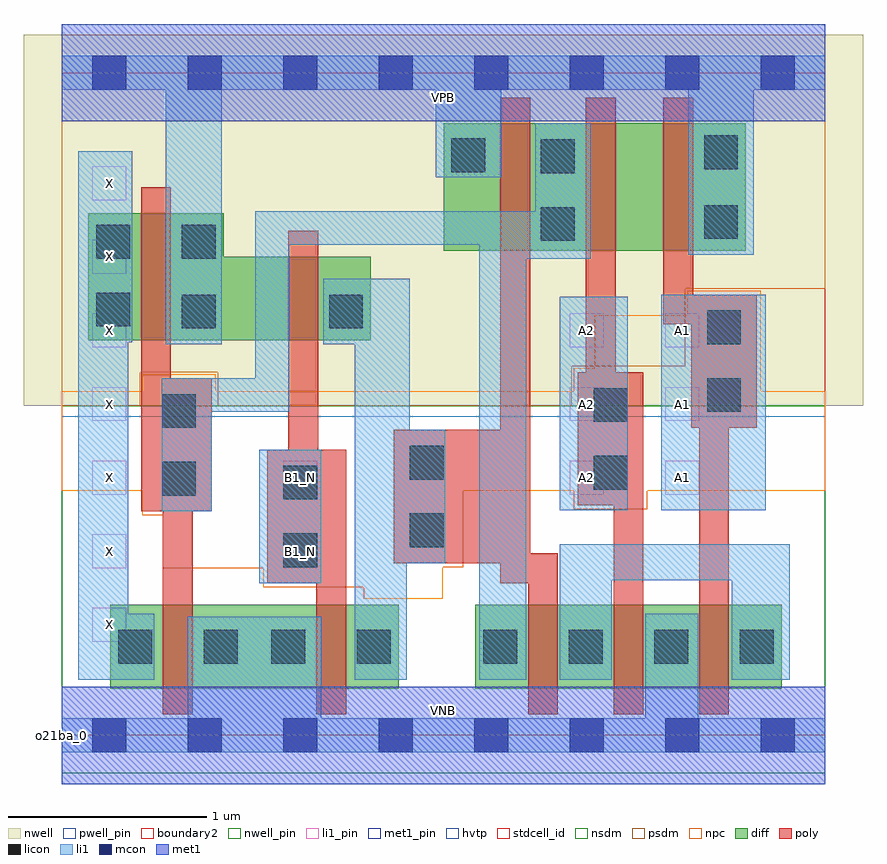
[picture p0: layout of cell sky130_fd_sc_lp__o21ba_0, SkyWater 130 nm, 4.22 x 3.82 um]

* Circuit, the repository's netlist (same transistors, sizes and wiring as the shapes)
* Copyright 2020 The SkyWater PDK Authors
*
* Licensed under the Apache License, Version 2.0 (the "License");
* you may not use this file except in compliance with the License.
* You may obtain a copy of the License at
*
*     https://www.apache.org/licenses/LICENSE-2.0
*
* Unless required by applicable law or agreed to in writing, software
* distributed under the License is distributed on an "AS IS" BASIS,
* WITHOUT WARRANTIES OR CONDITIONS OF ANY KIND, either express or implied.
* See the License for the specific language governing permissions and
* limitations under the License.
*
* SPDX-License-Identifier: Apache-2.0

.SUBCKT sky130_fd_sc_lp__o21ba_0 A1 A2 B1_N VGND VNB VPB VPWR X
*.PININFO A1:I A2:I B1_N:I VGND:I VNB:I VPB:I VPWR:I X:O
MMPA0 VPWR A1 sndA1 VPB sky130_fd_pr__pfet_01v8_hvt m=1 w=0.64U l=0.15U mult=1
+ sa=0.265 sb=0.265 sd=0.28 area=0.063 perim=1.14
MMPA1 sndA1 A2 y VPB sky130_fd_pr__pfet_01v8_hvt m=1 w=0.64U l=0.15U mult=1 sa=0.265
+ sb=0.265 sd=0.28 area=0.063 perim=1.14
MMPB0 VPWR B1 y VPB sky130_fd_pr__pfet_01v8_hvt m=1 w=0.64U l=0.15U mult=1 sa=0.265
+ sb=0.265 sd=0.28 area=0.063 perim=1.14
MMIPB1N B1 B1_N VPWR VPB sky130_fd_pr__pfet_01v8_hvt m=1 w=0.42U l=0.15U mult=1
+ sa=0.265 sb=0.265 sd=0.28 area=0.063 perim=1.14
MMIPX X y VPWR VPB sky130_fd_pr__pfet_01v8_hvt m=1 w=0.64U l=0.15U mult=1 sa=0.265
+ sb=0.265 sd=0.28 area=0.063 perim=1.14
MMNA0 pndA A1 VGND VNB sky130_fd_pr__nfet_01v8 m=1 w=0.42U l=0.15U mult=1 sa=0.265
+ sb=0.265 sd=0.28 area=0.063 perim=1.14
MMNA1 pndA A2 VGND VNB sky130_fd_pr__nfet_01v8 m=1 w=0.42U l=0.15U mult=1 sa=0.265
+ sb=0.265 sd=0.28 area=0.063 perim=1.14
MMNB0 y B1 pndA VNB sky130_fd_pr__nfet_01v8 m=1 w=0.42U l=0.15U mult=1 sa=0.265
+ sb=0.265 sd=0.28 area=0.063 perim=1.14
MMINB1N B1 B1_N VGND VNB sky130_fd_pr__nfet_01v8 m=1 w=0.42U l=0.15U mult=1 sa=0.265
+ sb=0.265 sd=0.28 area=0.063 perim=1.14
MMINX X y VGND VNB sky130_fd_pr__nfet_01v8 m=1 w=0.42U l=0.15U mult=1 sa=0.265
+ sb=0.265 sd=0.28 area=0.063 perim=1.14
.ENDS sky130_fd_sc_lp__o21ba_0

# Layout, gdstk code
import gdstk
lib = gdstk.Library(unit=1e-6, precision=1e-09)
def R(c, l, rs):  # rectangles x0, y0, x1, y1
    for r in rs: c.add(gdstk.rectangle(r[:2], r[2:], *l))
def A(c, l, x, y, w, h, nx, ny, dx, dy):  # array of equal rectangles
    R(c, l, [(x+i*dx, y+j*dy, x+i*dx+w, y+j*dy+h) for i in range(nx) for j in range(ny)])
def P(c, l, *ps):  # polygons
    for p in ps: c.add(gdstk.Polygon(p, *l))
nwell_pin = (64, 16)
nwell = (64, 20)
diff = (65, 20)
poly = (66, 20)
licon = (66, 44)
li1_pin = (67, 16)
li1 = (67, 20)
mcon = (67, 44)
met1_pin = (68, 16)
met1 = (68, 20)
hvtp = (78, 44)
stdcell_id = (81, 4)
nsdm = (93, 44)
psdm = (94, 20)
npc = (95, 20)
pwell_pin = (122, 16)
boundary2 = (236, 0)

sky130_fd_sc_lp__o21ba_0 = lib.new_cell('sky130_fd_sc_lp__o21ba_0')
R(sky130_fd_sc_lp__o21ba_0, nwell_pin, [(0,3.085,3.84,3.33)])
R(sky130_fd_sc_lp__o21ba_0, nwell, [(-0.19,1.655,4.03,3.52)])
R(sky130_fd_sc_lp__o21ba_0, diff, [(0.245,0.235,1.695,0.655), (2.08,0.235,3.62,0.655), (1.92,2.435,3.44,3.075)])
P(sky130_fd_sc_lp__o21ba_0, diff, [(1.555,2.405),(0.815,2.405),(0.815,2.625),(0.135,2.625),(0.135,1.985),(1.555,1.985)])
R(sky130_fd_sc_lp__o21ba_0, poly, [(0.51,0.105,0.66,1.125)])
P(sky130_fd_sc_lp__o21ba_0, poly, [(0.755,1.795),(0.55,1.795),(0.55,2.755),(0.4,2.755),(0.4,1.125),(0.755,1.125)],
  [(1.43,1.435),(1.29,1.435),(1.29,2.535),(1.14,2.535),(1.14,1.435),(1.035,1.435),(1.035,0.765),(1.28,0.765),(1.28,0.105),(1.43,0.105)],
  [(2.495,0.915),(2.355,0.915),(2.355,3.205),(2.205,3.205),(2.205,1.535),(1.67,1.535),(1.67,0.865),(2.205,0.865),(2.205,0.765),(2.345,0.765),(2.345,0.105),(2.495,0.105)],
  [(2.925,1.825),(2.785,1.825),(2.785,3.205),(2.635,3.205),(2.635,1.825),(2.595,1.825),(2.595,1.155),(2.775,1.155),(2.775,0.105),(2.925,0.105)],
  [(3.495,2.215),(3.175,2.215),(3.175,3.205),(3.025,3.205),(3.025,2.065),(3.165,2.065),(3.165,1.545),(3.205,1.545),(3.205,0.105),(3.355,0.105),(3.355,1.545),(3.495,1.545)])
A(sky130_fd_sc_lp__o21ba_0, licon, 2.12, 0.36, 0.17, 0.17, 4, 1, 0.43, 0)
R(sky130_fd_sc_lp__o21ba_0, licon, [(0.285,0.36,0.455,0.53), (0.715,0.36,0.885,0.53), (1.055,0.36,1.225,0.53), (1.485,0.36,1.655,0.53), (1.115,0.845,1.285,1.015), (1.75,0.945,1.92,1.115), (1.115,1.185,1.285,1.355), (0.505,1.205,0.675,1.375), (2.675,1.235,2.845,1.405), (1.75,1.285,1.92,1.455), (0.505,1.545,0.675,1.715), (2.675,1.575,2.845,1.745), (3.245,1.625,3.415,1.795), (3.245,1.965,3.415,2.135), (0.605,2.045,0.775,2.215), (1.345,2.045,1.515,2.215), (0.175,2.055,0.345,2.225), (0.175,2.395,0.345,2.565), (0.605,2.395,0.775,2.565), (2.41,2.485,2.58,2.655), (3.23,2.495,3.4,2.665), (2.41,2.825,2.58,2.995), (1.96,2.83,2.13,3), (3.23,2.845,3.4,3.015)])
A(sky130_fd_sc_lp__o21ba_0, li1_pin, 0.155, 0.47, 0.17, 0.17, 1, 7, 0, 0.37)
A(sky130_fd_sc_lp__o21ba_0, li1_pin, 2.555, 1.21, 0.17, 0.17, 1, 3, 0, 0.37)
A(sky130_fd_sc_lp__o21ba_0, li1_pin, 3.035, 1.21, 0.17, 0.17, 1, 3, 0, 0.37)
R(sky130_fd_sc_lp__o21ba_0, li1_pin, [(1.115,0.84,1.285,1.01), (1.115,1.21,1.285,1.38)])
R(sky130_fd_sc_lp__o21ba_0, li1, [(0.995,0.765,1.305,1.435), (2.505,1.13,2.845,2.205), (3.015,1.13,3.54,2.215)])
P(sky130_fd_sc_lp__o21ba_0, li1, [(0.525,1.965),(0.525,3.245),(0,3.245),(0,3.415),(3.84,3.415),(3.84,3.245),(3.48,3.245),(3.48,2.415),(3.15,2.415),(3.15,3.245),(2.21,3.245),(2.21,2.805),(1.88,2.805),(1.88,3.245),(0.805,3.245),(0.805,1.965)],
  [(2.935,0.085),(2.935,0.61),(3.2,0.61),(3.2,0.085),(3.84,0.085),(3.84,-0.085),(0,-0.085),(0,0.085),(0.635,0.085),(0.635,0.595),(1.305,0.595),(1.305,0.085)],
  [(3.37,0.28),(3.37,0.78),(2.765,0.78),(2.765,0.28),(2.505,0.28),(2.505,0.96),(3.66,0.96),(3.66,0.28)],
  [(2.38,2.635),(2.38,3.075),(2.66,3.075),(2.66,2.395),(2.335,2.395),(2.335,0.28),(2.1,0.28),(2.1,2.465),(1.145,2.465),(1.145,1.625),(0.755,1.625),(0.755,1.125),(0.505,1.125),(0.505,1.795),(0.975,1.795),(0.975,2.635)],
  [(1.75,1.535),(1.93,1.535),(1.93,0.865),(1.735,0.865),(1.735,0.28),(1.475,0.28),(1.475,1.965),(1.315,1.965),(1.315,2.295),(1.75,2.295)],
  [(0.085,2.935),(0.355,2.935),(0.355,1.975),(0.335,1.975),(0.335,0.61),(0.465,0.61),(0.465,0.28),(0.085,0.28)])
A(sky130_fd_sc_lp__o21ba_0, mcon, 0.155, -0.085, 0.17, 0.17, 8, 2, 0.48, 3.33)
R(sky130_fd_sc_lp__o21ba_0, met1_pin, [(0,0,3.84,0.245), (0,3.085,3.84,3.33)])
R(sky130_fd_sc_lp__o21ba_0, met1, [(0,-0.245,3.84,0.245), (0,3.085,3.84,3.575)])
R(sky130_fd_sc_lp__o21ba_0, hvtp, [(0,1.6,3.84,3.33)])
R(sky130_fd_sc_lp__o21ba_0, stdcell_id, [(0,0,3.84,3.33)])
R(sky130_fd_sc_lp__o21ba_0, nsdm, [(0,-0.19,3.84,1.655)])
P(sky130_fd_sc_lp__o21ba_0, psdm, [(3.84,3.52),(0,3.52),(0,1.655),(0.395,1.655),(0.395,1.825),(0.785,1.825),(0.785,1.655),(2.565,1.655),(2.565,1.855),(3.135,1.855),(3.135,2.245),(3.84,2.245)])
P(sky130_fd_sc_lp__o21ba_0, npc, [(3.84,1.73),(3.515,1.73),(3.515,2.235),(3.145,2.235),(3.145,2.11),(2.68,2.11),(2.68,1.845),(2.575,1.845),(2.575,1.73),(0.775,1.73),(0.775,1.815),(0.405,1.815),(0.405,1.73),(0,1.73),(0,1.23),(0.405,1.23),(0.405,1.105),(0.51,1.105),(0.51,0.84),(1.015,0.84),(1.015,0.745),(1.52,0.745),(1.52,0.685),(1.915,0.685),(1.915,0.845),(2.02,0.845),(2.02,1.23),(2.575,1.23),(2.575,1.135),(2.945,1.135),(2.945,1.23),(3.84,1.23)])
R(sky130_fd_sc_lp__o21ba_0, pwell_pin, [(0,0,3.84,0.245)])
R(sky130_fd_sc_lp__o21ba_0, boundary2, [(0,0,3.84,3.33)])
sky130_fd_sc_lp__o21ba_0.add(gdstk.Label('VNB', (1.92,0.123), layer=64, texttype=59))
sky130_fd_sc_lp__o21ba_0.add(gdstk.Label('VPB', (1.92,3.208), layer=64, texttype=5))
sky130_fd_sc_lp__o21ba_0.add(gdstk.Label('o21ba_0', (0,0), layer=83, texttype=44))
sky130_fd_sc_lp__o21ba_0.add(gdstk.Label('VPWR', (1.92,3.208), layer=68, texttype=5))
sky130_fd_sc_lp__o21ba_0.add(gdstk.Label('VGND', (1.92,0.123), layer=68, texttype=5))
sky130_fd_sc_lp__o21ba_0.add(gdstk.Label('A1', (3.12,1.295), layer=67, texttype=5))
sky130_fd_sc_lp__o21ba_0.add(gdstk.Label('A1', (3.12,1.665), layer=67, texttype=5))
sky130_fd_sc_lp__o21ba_0.add(gdstk.Label('A1', (3.12,2.035), layer=67, texttype=5))
sky130_fd_sc_lp__o21ba_0.add(gdstk.Label('A2', (2.64,1.295), layer=67, texttype=5))
sky130_fd_sc_lp__o21ba_0.add(gdstk.Label('A2', (2.64,1.665), layer=67, texttype=5))
sky130_fd_sc_lp__o21ba_0.add(gdstk.Label('A2', (2.64,2.035), layer=67, texttype=5))
sky130_fd_sc_lp__o21ba_0.add(gdstk.Label('B1_N', (1.2,0.925), layer=67, texttype=5))
sky130_fd_sc_lp__o21ba_0.add(gdstk.Label('B1_N', (1.2,1.295), layer=67, texttype=5))
sky130_fd_sc_lp__o21ba_0.add(gdstk.Label('X', (0.24,0.555), layer=67, texttype=5))
sky130_fd_sc_lp__o21ba_0.add(gdstk.Label('X', (0.24,0.925), layer=67, texttype=5))
sky130_fd_sc_lp__o21ba_0.add(gdstk.Label('X', (0.24,1.295), layer=67, texttype=5))
sky130_fd_sc_lp__o21ba_0.add(gdstk.Label('X', (0.24,1.665), layer=67, texttype=5))
sky130_fd_sc_lp__o21ba_0.add(gdstk.Label('X', (0.24,2.035), layer=67, texttype=5))
sky130_fd_sc_lp__o21ba_0.add(gdstk.Label('X', (0.24,2.405), layer=67, texttype=5))
sky130_fd_sc_lp__o21ba_0.add(gdstk.Label('X', (0.24,2.775), layer=67, texttype=5))

lib.write_gds('sky130_fd_sc_lp__o21ba_0.gds')
